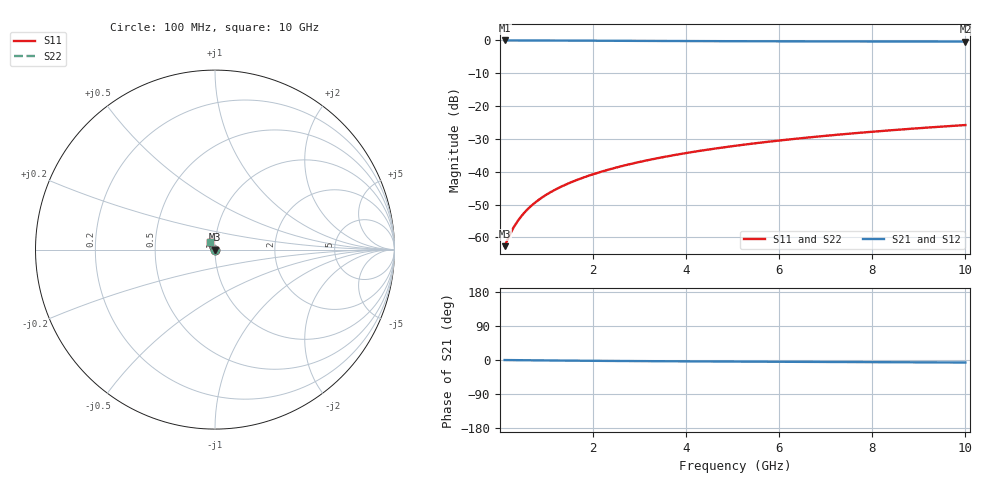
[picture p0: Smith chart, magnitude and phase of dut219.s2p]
! Touchstone file exported from HFSS 2024.1.0
!  File:  C:/UserFiles/LocalFiles/RDL_TSV_Batchsim/temp_TSV1_219_1779387407.aedt
!  Generated:  02:25:46 AM May 22, 2026
!  Design:  TSV1
!  Project:  temp_TSV1_219_1779387407
!  Setup:  Setup1
!  Solution:  Sweep
! Variables:
!  dtsv = 5.08um
!  hbump = 3um
!  htsv = 94.38um
!  lrdl = 252.1521522um
!  p = 40
!  p1 = 59.33um
!  t = 500um
!  trdl = 3um
!  wrdl = 24.89489489um
# GHz S MA R 50.000000
! Terminal data exported
! Port[1] = TSV22_T1
! Port[2] = TSV22_T2
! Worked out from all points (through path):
!   100 points, 100 MHz to 10 GHz, reference 50 ohm
!   highest |S21| = -0.01 dB at 100 MHz (marker M1); lowest = -0.4 dB at 10 GHz (marker M2)
!   lowest |S11| = -62.6 dB at 100 MHz (marker M3), VSWR 1.00, Z = 50.1 - j0.0463 ohm
!   |S11| at or under -10 dB: start of sweep to end of sweep
!   |S22| runs from -62.6 to -25.8 dB; largest |S21 - S12| = 7.1e-15
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0.1  0.0007373 -38.9  0.9994 -0.1  0.9994 -0.1  0.0007373 -38.9
! Gamma 0 0 0 0
! Port Impedance 50 0 50 0
0.2  0.001062 -61.7  0.9993 -0.2  0.9993 -0.2  0.001062 -61.7
0.3  0.00145 -74.8  0.9991 -0.4  0.9991 -0.4  0.00145 -74.8
0.4  0.001862 -83.7  0.999 -0.5  0.999 -0.5  0.001862 -83.7
0.5  0.002287 -90.5  0.9987 -0.6  0.9987 -0.6  0.002287 -90.5
0.6  0.00272 -96.1  0.9985 -0.7  0.9985 -0.7  0.00272 -96.1
0.7  0.003157 -101.0  0.9981 -0.8  0.9981 -0.8  0.003157 -101.0
0.9  0.004044 -109.6  0.9974 -1.0  0.9974 -1.0  0.004044 -109.6
1  0.004494 -113.5  0.9969 -1.1  0.9969 -1.1  0.004494 -113.5
1.2  0.005402 -120.6  0.996 -1.4  0.996 -1.4  0.005402 -120.6
1.5  0.006788 -130.4  0.9943 -1.7  0.9943 -1.7  0.006788 -130.4
1.8  0.008203 -139.2  0.9924 -1.9  0.9924 -1.9  0.008203 -139.2
2.1  0.009647 -147.3  0.9905 -2.2  0.9905 -2.2  0.009647 -147.3
2.5  0.01161 -157.0  0.9878 -2.5  0.9878 -2.5  0.01161 -157.0
2.9  0.01362 -165.7  0.9851 -2.8  0.9851 -2.8  0.01362 -165.7
3.4  0.01617 -175.3  0.9819 -3.2  0.9819 -3.2  0.01617 -175.3
4.2  0.02034 171.9  0.9774 -3.7  0.9774 -3.7  0.02034 171.9
5.1  0.02511 160.4  0.9731 -4.2  0.9731 -4.2  0.02511 160.4
5.9  0.02939 152.2  0.97 -4.6  0.97 -4.6  0.02939 152.2
6.7  0.0337 145.4  0.9674 -5.0  0.9674 -5.0  0.0337 145.4
8.4  0.04286 134.1  0.9632 -5.9  0.9632 -5.9  0.04287 134.1
10  0.05149 126.2  0.9603 -6.7  0.9603 -6.7  0.05149 126.2
